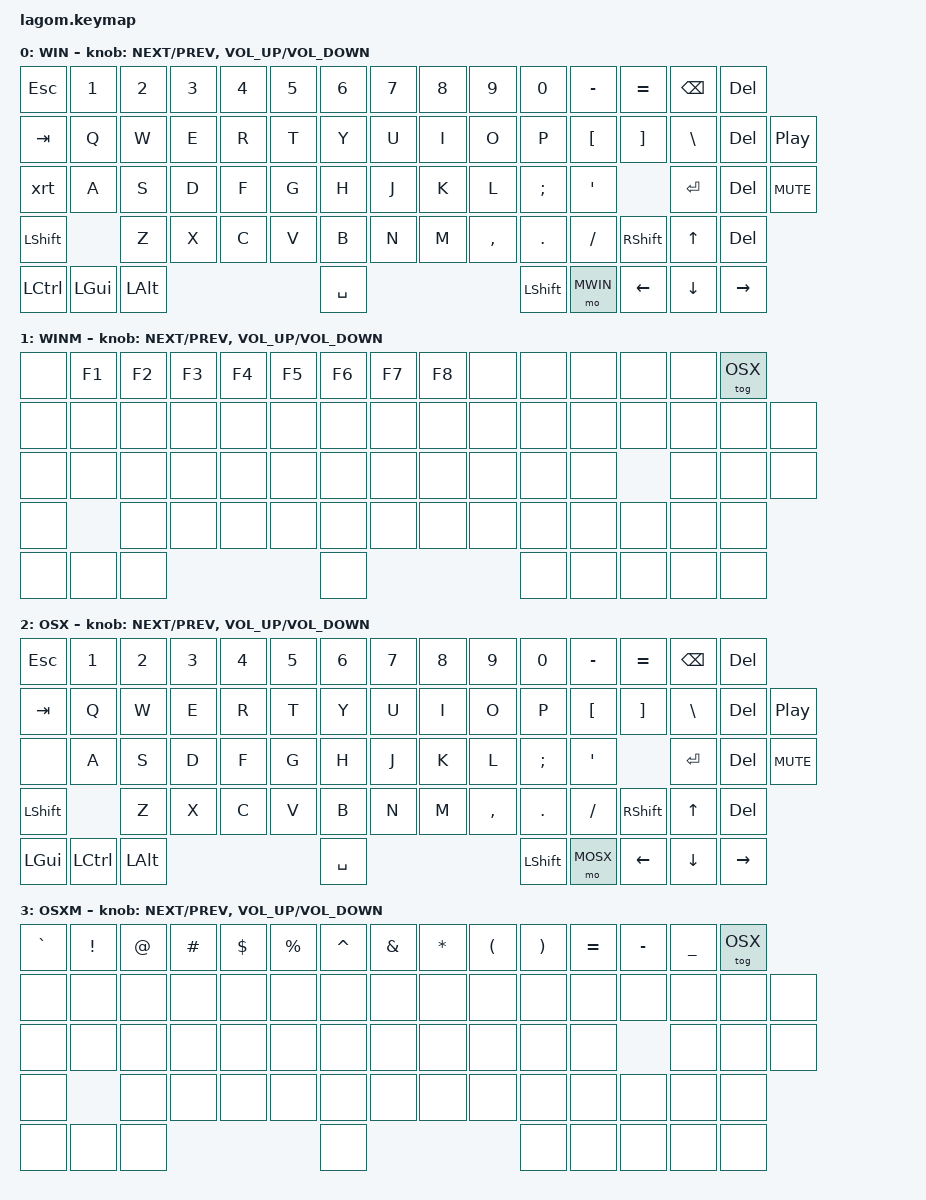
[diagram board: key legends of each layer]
/*
 * Copyright (c) 2020 The ZMK Contributors
 *
 * SPDX-License-Identifier: MIT
 */

#include <behaviors.dtsi>
#include <dt-bindings/zmk/keys.h>
#include <dt-bindings/zmk/bt.h>

#define DEFAULT 0
#define NONE 0

#define WIN 0
#define MWIN 1
#define OSX 2
#define MOSX 3

/ {
    sensors {
        compatible = "zmk,keymap-sensors";
        sensors = <&encoder_1 &encoder_2>;
    };

     macros {
        xrt: xrt {
            compatible = "zmk,behavior-macro";
            #binding-cells = <0>;
            wait-ms = <0>;
            tap-ms = <0>;
            bindings
                = <&macro_press &kp W>
                , <&macro_press &kp LALT>
                , <&macro_pause_for_release>
                , <&macro_release &kp W>
                , <&macro_release &kp LALT>
                ;
        };
    };

    keymap {
        compatible = "zmk,keymap";

        win_layer {
            label = "WIN";

            sensor-bindings = <&inc_dec_kp C_NEXT C_PREV &inc_dec_kp C_VOLUME_UP C_VOLUME_DOWN>;

            bindings = <
&kp ESC     &kp N1    &kp N2    &kp N3    &kp N4    &kp N5    &kp N6    &kp N7    &kp N8    &kp N9    &kp N0    &kp MINUS &kp EQUAL  &kp BSPC   &kp DEL
&kp TAB     &kp Q     &kp W     &kp E     &kp R     &kp T     &kp Y     &kp U     &kp I     &kp O     &kp P     &kp LBKT  &kp RBKT   &kp BSLH   &kp DEL &kp C_PLAY_PAUSE
&xrt        &kp A     &kp S     &kp D     &kp F     &kp G     &kp H     &kp J     &kp K     &kp L     &kp SEMI  &kp SQT              &kp RET    &kp DEL &kp C_MUTE
&kp LSHFT             &kp Z     &kp X     &kp C     &kp V     &kp B     &kp N     &kp M     &kp COMMA &kp DOT   &kp FSLH  &kp RSHFT  &kp UP     &kp DEL
&kp LCTRL   &kp LGUI  &kp LALT                                &kp SPACE                               &kp LSHFT &mo MWIN  &kp LEFT   &kp DOWN   &kp RIGHT
            >;
        };

        mod_win_layer {
            label = "WINM";

            sensor-bindings = <&inc_dec_kp C_NEXT C_PREV &inc_dec_kp C_VOLUME_UP C_VOLUME_DOWN>;

            bindings = <
&none       &kp F1    &kp F2    &kp F3    &kp F4    &kp F5    &kp F6    &kp F7    &kp F8    &none     &none     &none     &none      &none      &tog OSX
&none       &none     &none     &none     &none     &none     &none     &none     &none     &none     &none     &none     &none      &none      &none   &none
&none       &none     &none     &none     &none     &none     &none     &none     &none     &none     &none     &none     &none                 &none   &none
&none                 &none     &none     &none     &none     &none     &none     &none     &none     &none     &none     &none      &none      &none
&none       &none     &none                                   &none                                   &none     &none     &none      &none      &none
            >;
        };

        osx_layer {
            label = "OSX";

            sensor-bindings = <&inc_dec_kp C_NEXT C_PREV &inc_dec_kp C_VOLUME_UP C_VOLUME_DOWN>;

            bindings = <
&kp ESC     &kp N1    &kp N2    &kp N3    &kp N4    &kp N5    &kp N6    &kp N7    &kp N8    &kp N9    &kp N0    &kp MINUS &kp EQUAL  &kp BSPC   &kp DEL
&kp TAB     &kp Q     &kp W     &kp E     &kp R     &kp T     &kp Y     &kp U     &kp I     &kp O     &kp P     &kp LBKT  &kp RBKT   &kp BSLH   &kp DEL &kp C_PLAY_PAUSE
&none       &kp A     &kp S     &kp D     &kp F     &kp G     &kp H     &kp J     &kp K     &kp L     &kp SEMI  &kp SQT              &kp RET    &kp DEL &kp C_MUTE
&kp LSHFT             &kp Z     &kp X     &kp C     &kp V     &kp B     &kp N     &kp M     &kp COMMA &kp DOT   &kp FSLH  &kp RSHFT  &kp UP     &kp DEL
&kp LGUI    &kp LCTRL &kp LALT                                &kp SPACE                               &kp LSHFT &mo MOSX  &kp LEFT   &kp DOWN   &kp RIGHT
            >;
        };

        mod_osx_layer {
            label = "OSXM";

            sensor-bindings = <&inc_dec_kp C_NEXT C_PREV &inc_dec_kp C_VOLUME_UP C_VOLUME_DOWN>;

            bindings = <
&kp GRAVE   &kp EXCL  &kp AT    &kp HASH  &kp DLLR  &kp PRCNT &kp CARET &kp AMPS  &kp ASTRK &kp LPAR  &kp RPAR  &kp EQUAL &kp MINUS  &kp UNDER  &tog OSX
&none       &none     &none     &none     &none     &none     &none     &none     &none     &none     &none     &none     &none      &none      &none   &none
&none       &none     &none     &none     &none     &none     &none     &none     &none     &none     &none     &none     &none                 &none   &none
&none                 &none     &none     &none     &none     &none     &none     &none     &none     &none     &none     &none      &none      &none
&none       &none     &none                                   &none                                   &none     &none     &none      &none      &none
            >;
        };
    };
};
